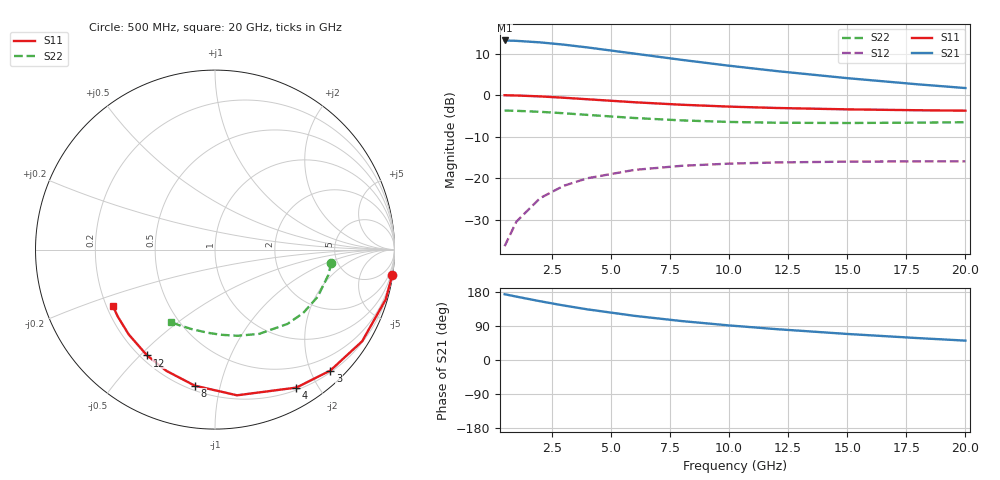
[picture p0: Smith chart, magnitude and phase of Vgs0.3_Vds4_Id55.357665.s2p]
# Hz S RI R 50
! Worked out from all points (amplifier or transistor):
!   12 points, 500 MHz to 20 GHz, reference 50 ohm
!   highest |S21| = 13.2 dB at 500 MHz (marker M1)
!   |S21| within 3 dB of that: start of sweep to 5.764 GHz
!   unconditionally stable (mu >= 1): 19.54 GHz to end of sweep
!   at 2 GHz: K = 0.10, MSG = 18.8 dB, |S12| = -24.8 dB
!   at 8 GHz: K = 0.39, MSG = 12.8 dB, |S12| = -17.0 dB
!   at 20 GHz: K = 1.03, MAG = 7.8 dB, |S12| = -16.0 dB
!   S11 on the Smith chart (normalised r, x): 500 MHz: 0, -14; 3 GHz: 0.23, -2.32; 4 GHz: 0.23, -1.73; 8 GHz: 0.23, -0.84; 12 GHz: 0.23, -0.52; 20 GHz: 0.23, -0.25
5e8  0.9875 -0.1421  -4.536 0.5086  0.00146 0.0151  0.6481 -0.0719
1e9  0.9511 -0.2779  -4.403 0.9942  0.00569 0.0294  0.6318 -0.141
2e9  0.8199 -0.5106  -3.926 1.823  0.0209 0.0534  0.5725 -0.2623
3e9  0.6423 -0.674  -3.281 2.397  0.0415 0.0693  0.4916 -0.3531
4e9  0.4534 -0.7688  -2.598 2.721  0.0632 0.077  0.4044 -0.4138
6e9  0.1229 -0.8118  -1.413 2.834  0.1004 0.0756  0.2466 -0.4694
8e9  -0.1132 -0.7579  -0.5846 2.597  0.1259 0.0629  0.1249 -0.4802
1e10  -0.2717 -0.675  -0.0489 2.264  0.1417 0.0475  0.0329 -0.4744
1.2e10  -0.3786 -0.5896  0.2914 1.931  0.151 0.0323  -0.0398 -0.4634
1.5e10  -0.4805 -0.4731  0.5809 1.494  0.1575 0.0119  -0.1278 -0.4436
1.8e10  -0.5417 -0.3732  0.7196 1.142  0.1591 -0.0051  -0.2008 -0.4208
2e10  -0.5689 -0.3145  0.764 0.9487  0.1585 -0.0149  -0.2439 -0.4037
